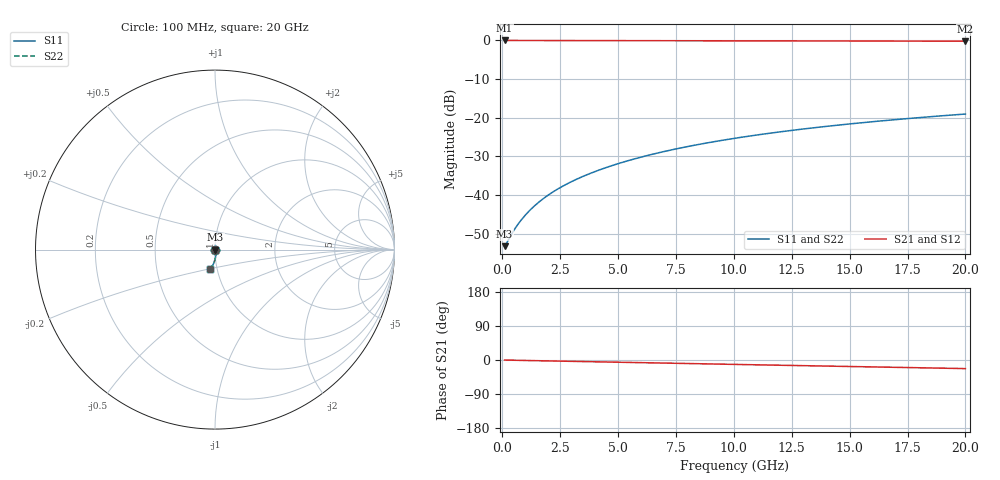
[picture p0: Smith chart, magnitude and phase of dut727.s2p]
! Touchstone file exported from HFSS 2026.1.0
!  File:  C:/ffzhzh/LocalFiles/Ansys_Project_Files/temp_train_BSMRDL_727_1783168476_51560.aedt
!  Generated:  08:35:43 PM Jul  4, 2026
!  Design:  BSMRDL
!  Project:  temp_train_BSMRDL_727_1783168476_51560
! Variables:
!  h_bsmrdl = 4.18um
!  h_ox = 20um
!  h_rdl = 5um
!  h_sub = 80um
!  h_tmrdl = 5um
!  h_tsv = 80um
!  h_via = 3um
!  l_bsmrdl = 386.17um
!  l_sub = 786.17um
!  l_tmrdl = 200um
!  m_sub = 200um
!  pitch = 18.63um
!  r_tsv = 6um
!  s_tmrdl = 10um
!  w_bsmrdl = 16.69um
!  w_sub = 500um
!  w_tmrdl = 12um
!  x_tsv_center1 = 206um
!  x_tsv_center2 = 608.86um
!  x_tsv_center3 = 820.86um
!  x_tsv_center4 = 1223.72um
!  x_tsv_center5 = 1435.72um
!  x_tsv_center6 = 1838.58um
# GHz S MA R 50.000000
! Terminal data exported
! Port[1] = BSM_RDL1_1_T1
! Port[2] = BSM_RDL1_1_T2
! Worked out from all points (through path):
!   200 points, 100 MHz to 20 GHz, reference 50 ohm
!   highest |S21| = -0.02 dB at 100 MHz (marker M1); lowest = -0.2 dB at 20 GHz (marker M2)
!   group delay of S21, straight-line fit = 3.13 ps
!   lowest |S11| = -53.3 dB at 100 MHz (marker M3), VSWR 1.00, Z = 50.2 - j0.0037 ohm
!   |S11| at or under -10 dB: start of sweep to end of sweep
!   |S22| runs from -53.3 to -19.1 dB; largest |S21 - S12| = 2e-15
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0.1  0.002169 -1.0  0.9978 -0.1  0.9978 -0.1  0.002169 -1.0
! Gamma 0 0 0 0
! Port Impedance 50 0 50 0
0.2  0.002416 -4.2  0.9976 -0.3  0.9976 -0.3  0.002416 -4.2
0.4  0.003102 -16.0  0.997 -0.5  0.997 -0.5  0.003102 -16.0
0.5  0.003477 -22.3  0.9968 -0.7  0.9968 -0.7  0.003477 -22.3
0.7  0.004259 -33.4  0.9964 -0.9  0.9964 -0.9  0.004258 -33.4
1  0.005498 -45.6  0.9961 -1.2  0.9961 -1.2  0.005497 -45.6
1.2  0.006362 -51.5  0.9959 -1.5  0.9959 -1.5  0.006361 -51.5
1.4  0.007251 -56.0  0.9957 -1.7  0.9957 -1.7  0.007249 -56.0
1.8  0.009084 -62.5  0.9955 -2.2  0.9955 -2.2  0.009082 -62.5
2.3  0.01146 -67.8  0.9951 -2.8  0.9951 -2.8  0.01146 -67.8
2.9  0.0144 -72.0  0.9946 -3.5  0.9946 -3.5  0.0144 -72.0
3.5  0.01744 -74.9  0.9941 -4.2  0.9941 -4.2  0.01744 -74.9
4.2  0.02108 -77.4  0.9934 -5.0  0.9934 -5.0  0.02108 -77.4
5  0.02537 -79.6  0.9926 -5.9  0.9926 -5.9  0.02536 -79.7
5.9  0.03032 -81.8  0.9916 -7.0  0.9916 -7.0  0.03031 -81.8
6.8  0.03537 -83.6  0.9906 -8.0  0.9906 -8.0  0.03536 -83.7
8.4  0.04453 -86.6  0.9889 -9.8  0.9889 -9.8  0.04452 -86.7
10.1  0.0544 -89.5  0.987 -11.7  0.987 -11.7  0.05439 -89.6
11.7  0.06374 -92.1  0.9853 -13.5  0.9853 -13.5  0.06372 -92.2
13.4  0.07364 -94.7  0.9835 -15.4  0.9835 -15.4  0.07361 -94.8
16.7  0.09269 -99.4  0.9799 -19.0  0.9799 -19.0  0.09265 -99.5
20  0.1113 -103.8  0.9762 -22.7  0.9762 -22.7  0.1113 -104.0
